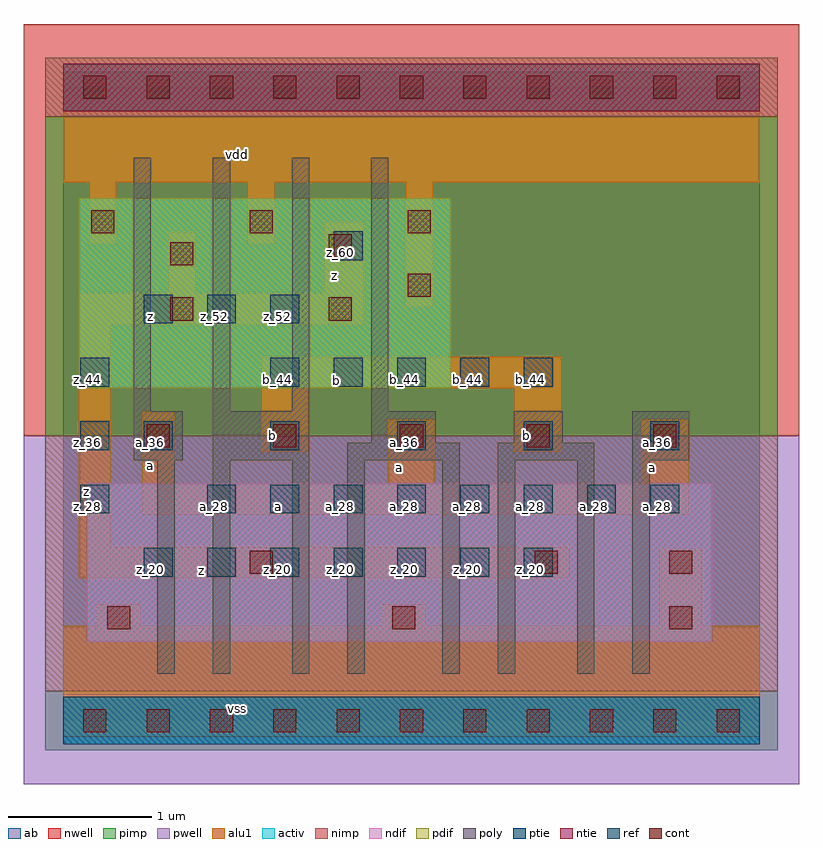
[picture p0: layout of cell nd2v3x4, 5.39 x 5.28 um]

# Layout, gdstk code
import gdstk
lib = gdstk.Library(unit=1e-6, precision=2.5e-09)
def R(c, l, rs):  # rectangles x0, y0, x1, y1
    for r in rs: c.add(gdstk.rectangle(r[:2], r[2:], *l))
def A(c, l, x, y, w, h, nx, ny, dx, dy):  # array of equal rectangles
    R(c, l, [(x+i*dx, y+j*dy, x+i*dx+w, y+j*dy+h) for i in range(nx) for j in range(ny)])
ndif = (3, 0)
pdif = (4, 0)
ntie = (5, 0)
ptie = (6, 0)
ref = (24, 0)
cont = (25, 0)
pwell = (41, 0)
nwell = (42, 0)
activ = (43, 0)
pimp = (44, 0)
nimp = (45, 0)
poly = (46, 0)
alu1 = (49, 0)
ab = (63, 0)

nd2v3x4 = lib.new_cell('nd2v3x4')
R(nd2v3x4, ndif, [(0.165,0.55,4.51,1.65)])
R(nd2v3x4, pdif, [(0.11,2.31,2.695,3.63)])
R(nd2v3x4, ntie, [(0,4.235,4.84,4.565)])
R(nd2v3x4, ptie, [(0,-0.165,4.84,0.165)])
A(nd2v3x4, ref, 0.56, 1, 0.2, 0.2, 7, 1, 0.44, 0)
A(nd2v3x4, ref, 0.12, 1.44, 0.2, 0.2, 1, 3, 0, 0.44)
A(nd2v3x4, ref, 1, 1.44, 0.2, 0.2, 8, 1, 0.44, 0)
A(nd2v3x4, ref, 0.56, 1.88, 0.2, 0.2, 5, 1, 0.88, 0)
A(nd2v3x4, ref, 1.44, 2.32, 0.2, 0.2, 5, 1, 0.44, 0)
A(nd2v3x4, ref, 0.56, 2.76, 0.2, 0.2, 3, 1, 0.44, 0)
R(nd2v3x4, ref, [(1.88,3.2,2.08,3.4)])
A(nd2v3x4, cont, 0.14, -0.08, 0.16, 0.16, 11, 2, 0.44, 4.4)
A(nd2v3x4, cont, 0.58, 1.9, 0.16, 0.16, 5, 1, 0.88, 0)
A(nd2v3x4, cont, 0.195, 3.385, 0.16, 0.16, 3, 1, 1.1, 0)
R(nd2v3x4, cont, [(0.305,0.635,0.465,0.795), (2.285,0.635,2.445,0.795), (4.21,0.635,4.37,0.795), (1.295,1.02,1.455,1.18), (3.275,1.02,3.435,1.18), (4.21,1.02,4.37,1.18), (0.745,2.78,0.905,2.94), (1.845,2.78,2.005,2.94), (2.395,2.945,2.555,3.105), (0.745,3.165,0.905,3.325), (1.845,3.22,2.005,3.38)])
R(nd2v3x4, pwell, [(-0.275,-0.44,5.115,1.98)])
R(nd2v3x4, nwell, [(-0.275,1.98,5.115,4.84)])
R(nd2v3x4, activ, [(0,-0.165,4.84,0.165), (0.165,0.55,4.51,1.65), (0.11,2.31,2.695,3.63), (0,4.235,4.84,4.565)])
R(nd2v3x4, pimp, [(-0.125,-0.205,4.965,0.205), (-0.125,1.98,4.965,4.195)])
R(nd2v3x4, nimp, [(-0.125,0.205,4.965,1.98), (-0.125,4.195,4.965,4.605)])
A(nd2v3x4, poly, 0.49, 2.15, 0.12, 1.76, 4, 1, 0.55, 0)
R(nd2v3x4, poly, [(0.655,0.325,0.775,1.81), (1.04,0.325,1.16,1.81), (1.59,0.325,1.71,1.81), (1.975,0.325,2.095,1.81), (2.635,0.325,2.755,1.81), (3.02,0.325,3.14,1.81), (3.57,0.325,3.69,1.81), (3.955,0.325,4.075,1.81), (0.49,1.81,0.83,2.15), (1.04,1.81,1.71,2.15), (1.975,1.81,2.755,1.93), (3.02,1.81,3.69,1.93), (3.955,1.81,4.35,2.15), (2.14,1.93,2.59,2.15), (3.13,1.93,3.47,2.15)])
R(nd2v3x4, alu1, [(0,-0.11,4.84,0.66), (0.235,0.66,0.535,0.81), (2.215,0.66,2.515,0.81), (4.14,0.66,4.44,1.195), (0.11,0.99,3.52,1.21), (0.11,1.21,0.33,2.75), (0.55,1.43,4.345,1.65), (0.55,1.65,0.77,2.145), (2.255,1.65,2.585,2.09), (4.015,1.65,4.345,2.09), (1.375,1.87,1.705,2.31), (3.135,1.87,3.465,2.31), (1.375,2.31,3.465,2.53), (0.11,2.75,2.09,2.97), (2.38,2.875,2.57,3.74), (0.73,2.97,0.92,3.395), (1.815,2.97,2.09,3.465), (0.18,3.315,0.37,3.74), (1.28,3.315,1.47,3.74), (0,3.74,4.84,4.51)])
R(nd2v3x4, ab, [(0,0,4.84,4.4)])
nd2v3x4.add(gdstk.Label('vss', (1.21,0.0825), layer=49, texttype=0))
nd2v3x4.add(gdstk.Label('z', (0.9625,1.045), layer=49, texttype=0))
nd2v3x4.add(gdstk.Label('a', (1.4975,1.485), layer=49, texttype=0))
nd2v3x4.add(gdstk.Label('a', (4.0975,1.76), layer=49, texttype=0))
nd2v3x4.add(gdstk.Label('b', (3.2175,1.98), layer=49, texttype=0))
nd2v3x4.add(gdstk.Label('a', (2.3375,1.76), layer=49, texttype=0))
nd2v3x4.add(gdstk.Label('b', (1.4575,1.98), layer=49, texttype=0))
nd2v3x4.add(gdstk.Label('a', (0.605,1.7725), layer=49, texttype=0))
nd2v3x4.add(gdstk.Label('b', (1.8975,2.365), layer=49, texttype=0))
nd2v3x4.add(gdstk.Label('z', (0.165,1.595), layer=49, texttype=0))
nd2v3x4.add(gdstk.Label('z', (0.605,2.805), layer=49, texttype=0))
nd2v3x4.add(gdstk.Label('z', (1.8825,3.0925), layer=49, texttype=0))
nd2v3x4.add(gdstk.Label('vdd', (1.21,3.9325), layer=49, texttype=0))
nd2v3x4.add(gdstk.Label('z_20', (0.61,1.05), layer=24, texttype=0))
nd2v3x4.add(gdstk.Label('a_36', (0.61,1.93), layer=24, texttype=0))
nd2v3x4.add(gdstk.Label('z_52', (0.61,2.81), layer=24, texttype=0))
nd2v3x4.add(gdstk.Label('z_20', (1.05,1.05), layer=24, texttype=0))
nd2v3x4.add(gdstk.Label('a_28', (1.05,1.49), layer=24, texttype=0))
nd2v3x4.add(gdstk.Label('z_52', (1.05,2.81), layer=24, texttype=0))
nd2v3x4.add(gdstk.Label('z_20', (1.49,1.05), layer=24, texttype=0))
nd2v3x4.add(gdstk.Label('a_28', (1.49,1.49), layer=24, texttype=0))
nd2v3x4.add(gdstk.Label('b_36', (1.49,1.93), layer=24, texttype=0))
nd2v3x4.add(gdstk.Label('b_44', (1.49,2.37), layer=24, texttype=0))
nd2v3x4.add(gdstk.Label('z_52', (1.49,2.81), layer=24, texttype=0))
nd2v3x4.add(gdstk.Label('z_20', (1.93,1.05), layer=24, texttype=0))
nd2v3x4.add(gdstk.Label('a_28', (1.93,1.49), layer=24, texttype=0))
nd2v3x4.add(gdstk.Label('b_44', (1.93,2.37), layer=24, texttype=0))
nd2v3x4.add(gdstk.Label('z_60', (1.93,3.25), layer=24, texttype=0))
nd2v3x4.add(gdstk.Label('z_28', (0.17,1.49), layer=24, texttype=0))
nd2v3x4.add(gdstk.Label('z_36', (0.17,1.93), layer=24, texttype=0))
nd2v3x4.add(gdstk.Label('z_44', (0.17,2.37), layer=24, texttype=0))
nd2v3x4.add(gdstk.Label('z_20', (2.37,1.05), layer=24, texttype=0))
nd2v3x4.add(gdstk.Label('a_28', (2.37,1.49), layer=24, texttype=0))
nd2v3x4.add(gdstk.Label('a_36', (2.37,1.93), layer=24, texttype=0))
nd2v3x4.add(gdstk.Label('b_44', (2.37,2.37), layer=24, texttype=0))
nd2v3x4.add(gdstk.Label('z_20', (2.81,1.05), layer=24, texttype=0))
nd2v3x4.add(gdstk.Label('a_28', (2.81,1.49), layer=24, texttype=0))
nd2v3x4.add(gdstk.Label('b_44', (2.81,2.37), layer=24, texttype=0))
nd2v3x4.add(gdstk.Label('z_20', (3.25,1.05), layer=24, texttype=0))
nd2v3x4.add(gdstk.Label('a_28', (3.25,1.49), layer=24, texttype=0))
nd2v3x4.add(gdstk.Label('b_36', (3.25,1.93), layer=24, texttype=0))
nd2v3x4.add(gdstk.Label('b_44', (3.25,2.37), layer=24, texttype=0))
nd2v3x4.add(gdstk.Label('a_28', (3.69,1.49), layer=24, texttype=0))
nd2v3x4.add(gdstk.Label('a_28', (4.13,1.49), layer=24, texttype=0))
nd2v3x4.add(gdstk.Label('a_36', (4.13,1.93), layer=24, texttype=0))

lib.write_gds('nd2v3x4.gds')
